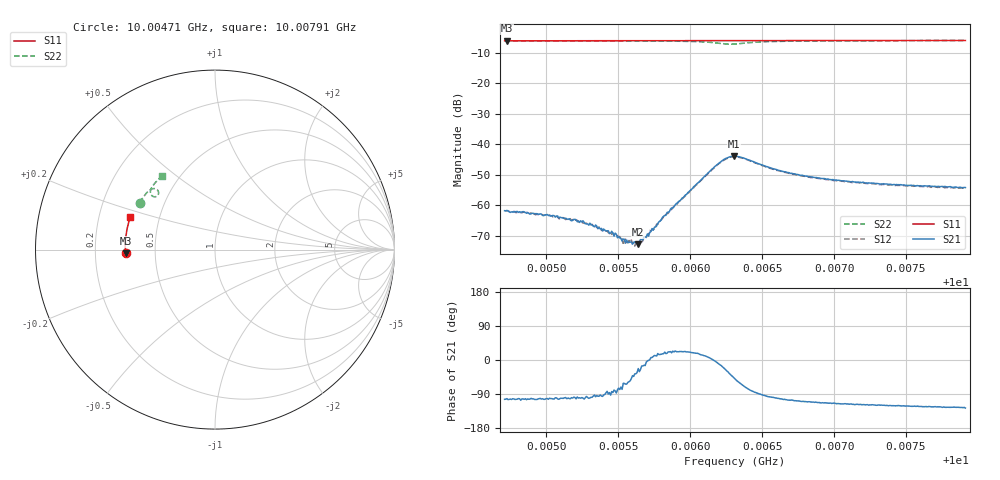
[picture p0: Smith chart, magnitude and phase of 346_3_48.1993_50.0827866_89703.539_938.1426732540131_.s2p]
#  HZ  S  RI  R  50.00
! Rohde & Schwarz Vector Network Analyzer
! Rohde-Schwarz,ZNB20-2Port,1311601062101988,3.16
! Created: UTC 3/20/2024, 11:51:36 AM
! freq[Hz]  re:S11  im:S11  re:S21  im:S21  re:S12  im:S12  re:S22  im:S22
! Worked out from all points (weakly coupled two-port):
!   401 points, 10.00471 GHz to 10.00791 GHz, reference 50 ohm
!   highest |S21| = -43.89 dB at 10.0063 GHz (marker M1); lowest = -72.8 dB at 10.00564 GHz (marker M2)
!   lowest |S11| = -6.0 dB at 10.00473 GHz (marker M3), VSWR 2.99, Z = 16.7 - j0.886 ohm
!   |S11| at or under -10 dB: nowhere
!   |S22| runs from -7.1 to -6.0 dB; largest |S21 - S12| = 0.00037
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1.0004711e10  -0.4986 -0.021  -0.000194 -0.000796  -0.000135 -0.000802  -0.4192 0.2605
1.0004727e10  -0.4985 -0.0199  -0.000171 -0.000807  -0.000142 -0.000806  -0.4185 0.2616
1.0005007e10  -0.4997 -0.00162  -0.000144 -0.000696  -0.000135 -0.000665  -0.4088 0.2779
1.0005247e10  -0.4999 0.0139  -8.36e-05 -0.000528  -7.3e-05 -0.000513  -0.3996 0.2924
1.0005359e10  -0.4999 0.0212  -4.1e-05 -0.000413  -1.59e-05 -0.000418  -0.3948 0.299
1.0005479e10  -0.4998 0.0289  5.05e-05 -0.000348  4.49e-05 -0.000319  -0.3894 0.3062
1.0005551e10  -0.4997 0.0338  0.000107 -0.000216  0.000128 -0.000249  -0.3858 0.3107
1.0005583e10  -0.4994 0.0357  0.000143 -0.000205  0.00015 -0.000198  -0.3842 0.3127
1.0005623e10  -0.4994 0.0384  0.000191 -0.00014  0.000214 -0.000133  -0.3821 0.315
1.0005639e10  -0.4993 0.0395  0.000213 -8.85e-05  0.000202 -9.37e-05  -0.3812 0.3161
1.0005655e10  -0.4993 0.0404  0.000251 -0.000116  0.000244 -7.95e-05  -0.3803 0.3171
1.0005711e10  -0.4991 0.0441  0.000314 -4.24e-06  0.000343 2.89e-05  -0.3769 0.3206
1.0005783e10  -0.4989 0.0487  0.000524 0.000132  0.000503 0.000156  -0.3724 0.3251
1.0005855e10  -0.4984 0.0534  0.000733 0.000287  0.00076 0.000277  -0.3668 0.3297
1.0006168e10  -0.4961 0.0735  0.00426 -0.000128  0.00413 7.16e-05  -0.3222 0.3335
1.000624e10  -0.4955 0.0779  0.00529 -0.00225  0.00525 -0.00194  -0.3142 0.3144
1.0006304e10  -0.4949 0.0817  0.00434 -0.00469  0.0045 -0.00436  -0.3257 0.2968
1.0006312e10  -0.4949 0.0821  0.00409 -0.00491  0.00422 -0.0046  -0.3282 0.2956
1.0006632e10  -0.4923 0.1026  -0.000793 -0.00358  -0.000606 -0.00356  -0.358 0.3342
1.0006848e10  -0.4897 0.1163  -0.00105 -0.00272  -0.000912 -0.00273  -0.3485 0.3529
1.0007384e10  -0.4817 0.1498  -0.00112 -0.00192  -0.00102 -0.0019  -0.3221 0.3838
1.0007913e10  -0.4712 0.1825  -0.00117 -0.00157  -0.00105 -0.00162  -0.2953 0.4079
